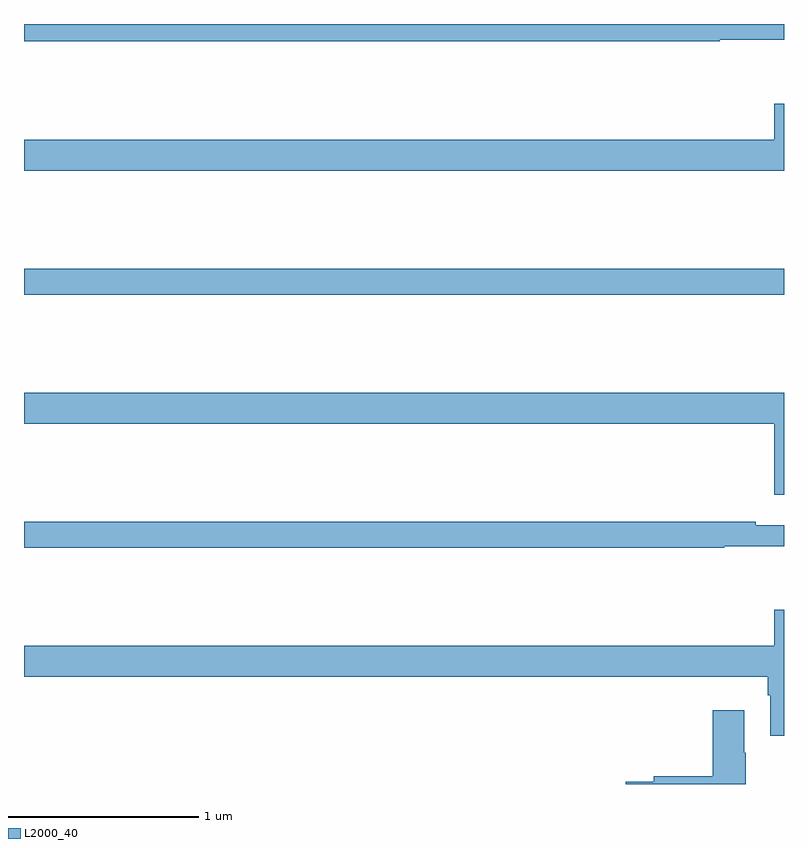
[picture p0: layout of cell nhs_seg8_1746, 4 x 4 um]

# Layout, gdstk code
import gdstk
lib = gdstk.Library(unit=1e-6, precision=1e-09)
def R(c, l, rs):  # rectangles x0, y0, x1, y1
    for r in rs: c.add(gdstk.rectangle(r[:2], r[2:], *l))
def P(c, l, *ps):  # polygons
    for p in ps: c.add(gdstk.Polygon(p, *l))
L2000_40 = (2000, 40)

nhs_seg8_1746 = lib.new_cell('nhs_seg8_1746')
R(nhs_seg8_1746, L2000_40, [(221,1154.476,225,1154.612)])
P(nhs_seg8_1746, L2000_40, [(224.662,1155.816),(225,1155.816),(225,1155.9),(221,1155.9),(221,1155.808),(224.662,1155.808)],
  [(225,1155.481),(224.948,1155.481),(224.948,1155.292),(221,1155.292),(221,1155.128),(225,1155.128)],
  [(225,1153.96),(221,1153.96),(221,1153.796),(224.948,1153.796),(224.948,1153.422),(225,1153.422)],
  [(224.686,1153.152),(225,1153.152),(225,1153.261),(224.852,1153.261),(224.852,1153.28),(221,1153.28),(221,1153.144),(224.686,1153.144)],
  [(225,1152.817),(224.948,1152.817),(224.948,1152.628),(221,1152.628),(221,1152.464),(224.915,1152.464),(224.915,1152.368),(224.927,1152.368),(224.927,1152.153),(225,1152.153)],
  [(224.799,1152.065),(224.791,1152.065),(224.791,1152.289),(224.624,1152.289),(224.624,1151.942),(224.315,1151.942),(224.315,1151.912),(224.166,1151.912),(224.166,1151.9),(224.799,1151.9)])

lib.write_gds('nhs_seg8_1746.gds')
